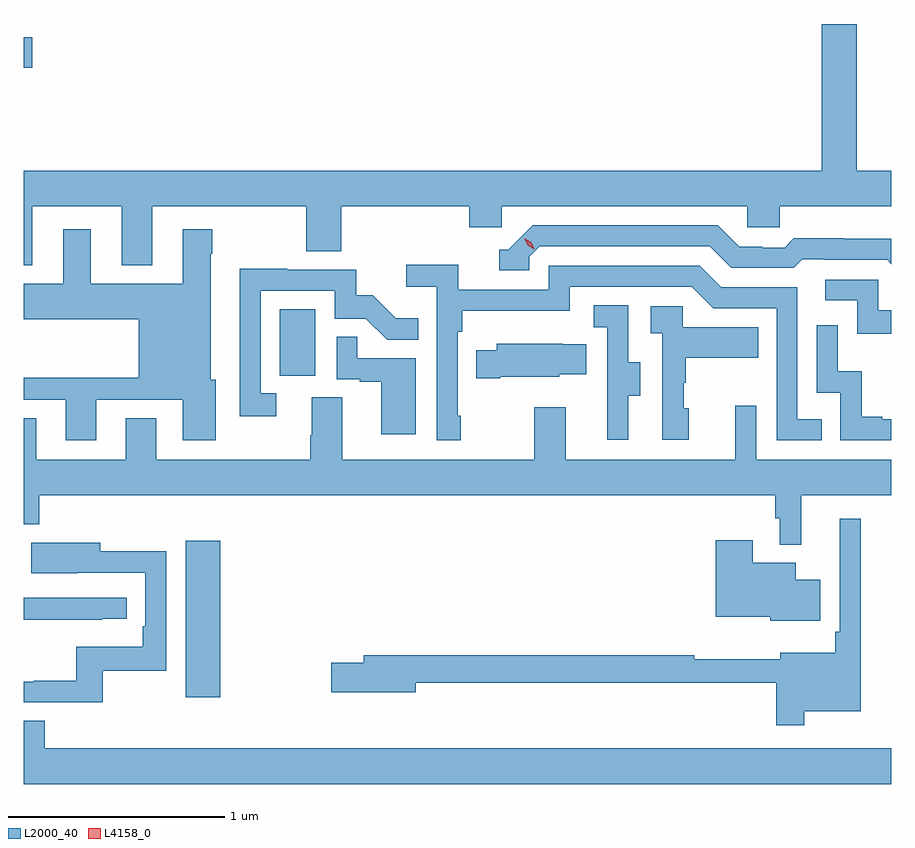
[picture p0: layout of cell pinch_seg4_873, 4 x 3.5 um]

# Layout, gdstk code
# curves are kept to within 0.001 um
import gdstk
lib = gdstk.Library(unit=1e-6, precision=1e-09)
def R(c, l, rs):  # rectangles x0, y0, x1, y1
    for r in rs: c.add(gdstk.rectangle(r[:2], r[2:], *l))
def P(c, l, *ps):  # polygons
    for p in ps: c.add(gdstk.Polygon(p, *l))
L2000_40 = (2000, 40)
L4158_0 = (4158, 0)

pinch_seg4_873 = lib.new_cell('pinch_seg4_873')
R(pinch_seg4_873, L2000_40, [(830.441,797.22,830.602,797.941), (830.876,798.702,831.04,799.009), (829.695,800.122,829.735,800.264)])
P(pinch_seg4_873, L2000_40, [(829.735,799.484),(830.147,799.484),(830.147,799.211),(830.287,799.211),(830.287,799.484),(830.998,799.484),(830.998,799.276),(831.158,799.276),(831.158,799.484),(831.749,799.484),(831.749,799.386),(831.9,799.386),(831.9,799.484),(833.031,799.484),(833.031,799.386),(833.181,799.386),(833.181,799.484),(833.695,799.484),(833.695,799.648),(833.535,799.648),(833.535,800.324),(833.375,800.324),(833.375,799.648),(829.695,799.648),(829.695,799.211),(829.735,799.211)],
  [(832.026,799.251),(832.074,799.299),(832.857,799.299),(832.956,799.2),(833.245,799.2),(833.284,799.239),(833.383,799.239),(833.383,799.236),(833.676,799.236),(833.695,799.217),(833.695,799.333),(833.478,799.333),(833.478,799.336),(833.245,799.336),(833.203,799.293),(833.1,799.293),(833.1,799.296),(832.993,799.296),(832.894,799.395),(832.041,799.395),(831.93,799.284),(831.887,799.284),(831.887,799.188),(832.026,799.188)],
  [(830.029,798.591),(830.429,798.591),(830.429,798.405),(830.581,798.405),(830.581,798.684),(830.557,798.684),(830.557,799.265),(830.565,799.265),(830.565,799.378),(830.429,799.378),(830.429,799.126),(830.005,799.126),(830.005,799.378),(829.877,799.378),(829.877,799.126),(829.695,799.126),(829.695,798.962),(830.225,798.962),(830.225,798.692),(829.695,798.692),(829.695,798.591),(829.889,798.591),(829.889,798.405),(830.029,798.405)],
  [(831.709,798.517),(831.696,798.517),(831.696,798.905),(831.716,798.905),(831.716,799.001),(832.212,799.001),(832.212,799.113),(832.776,799.113),(832.875,799.014),(833.166,799.014),(833.166,798.405),(833.375,798.405),(833.375,798.501),(833.262,798.501),(833.262,799.11),(832.912,799.11),(832.813,799.209),(832.116,799.209),(832.116,799.098),(831.698,799.098),(831.698,799.214),(831.459,799.214),(831.459,799.112),(831.6,799.112),(831.6,798.405),(831.709,798.405)],
  [(830.86,798.621),(830.787,798.621),(830.787,799.095),(831.129,799.095),(831.129,798.966),(831.273,798.966),(831.371,798.868),(831.515,798.868),(831.515,798.967),(831.411,798.967),(831.304,799.074),(831.228,799.074),(831.228,799.191),(830.909,799.191),(830.909,799.196),(830.69,799.196),(830.691,798.516),(830.86,798.516)],
  [(833.695,799.005),(833.634,799.005),(833.634,799.146),(833.391,799.146),(833.391,799.05),(833.538,799.05),(833.538,798.897),(833.695,798.897)],
  [(832.483,798.61),(832.537,798.61),(832.537,798.765),(832.482,798.765),(832.482,799.028),(832.323,799.028),(832.323,798.925),(832.386,798.925),(832.386,798.621),(832.385,798.621),(832.385,798.408),(832.483,798.408)],
  [(832.762,798.552),(832.737,798.552),(832.737,798.671),(832.747,798.671),(832.747,798.785),(833.081,798.785),(833.081,798.925),(832.734,798.925),(832.734,799.023),(832.587,799.023),(832.587,798.899),(832.638,798.899),(832.638,798.408),(832.762,798.408)],
  [(833.695,798.501),(833.653,798.501),(833.653,798.514),(833.558,798.514),(833.558,798.722),(833.448,798.722),(833.448,798.934),(833.352,798.934),(833.352,798.624),(833.46,798.624),(833.46,798.405),(833.695,798.405)],
  [(831.502,798.783),(831.233,798.783),(831.233,798.881),(831.138,798.881),(831.138,798.687),(831.245,798.687),(831.245,798.675),(831.344,798.675),(831.344,798.432),(831.502,798.432)],
  [(831.892,798.698),(832.164,798.698),(832.164,798.71),(832.289,798.71),(832.289,798.847),(832.181,798.847),(832.181,798.85),(831.875,798.85),(831.875,798.82),(831.781,798.82),(831.781,798.691),(831.892,798.691)],
  [(833.161,798.045),(833.181,798.045),(833.181,797.924),(833.279,797.924),(833.279,798.152),(833.695,798.152),(833.695,798.316),(833.073,798.316),(833.073,798.565),(832.976,798.565),(832.976,798.316),(832.195,798.316),(832.195,798.556),(832.048,798.556),(832.048,798.316),(831.163,798.316),(831.163,798.602),(831.023,798.602),(831.023,798.428),(831.016,798.428),(831.016,798.316),(830.305,798.316),(830.305,798.506),(830.165,798.506),(830.165,798.316),(829.753,798.316),(829.753,798.506),(829.695,798.506),(829.695,798.017),(829.766,798.017),(829.766,798.152),(833.161,798.152)],
  [(833.293,797.156),(833.554,797.156),(833.554,798.043),(833.457,798.043),(833.457,797.521),(833.437,797.521),(833.437,797.425),(833.183,797.425),(833.183,797.396),(832.787,797.396),(832.787,797.414),(831.263,797.414),(831.263,797.378),(831.114,797.378),(831.114,797.243),(831.502,797.243),(831.502,797.286),(833.164,797.286),(833.164,797.091),(833.293,797.091)],
  [(833.368,797.761),(833.254,797.761),(833.254,797.839),(833.056,797.839),(833.056,797.944),(832.886,797.944),(832.886,797.591),(833.136,797.591),(833.136,797.573),(833.368,797.573)],
  [(830.059,797.343),(830.352,797.343),(830.352,797.894),(830.047,797.894),(830.047,797.932),(829.729,797.932),(829.729,797.792),(829.943,797.792),(829.943,797.793),(830.256,797.793),(830.256,797.548),(830.243,797.548),(830.243,797.452),(829.938,797.452),(829.938,797.297),(829.741,797.297),(829.741,797.292),(829.695,797.292),(829.695,797.196),(830.059,797.196)],
  [(830.057,797.583),(830.17,797.583),(830.17,797.679),(829.695,797.679),(829.695,797.578),(830.057,797.578)],
  [(833.695,796.984),(829.793,796.984),(829.793,797.111),(829.695,797.111),(829.695,796.82),(833.695,796.82)])
P(pinch_seg4_873, L4158_0, [(832.049,799.285),(832.019,799.304),(832.003,799.337),(832.003,799.337),(832.003,799.337),(832.034,799.318),(832.05,799.285),(832.05,799.285)])

lib.write_gds('pinch_seg4_873.gds')
